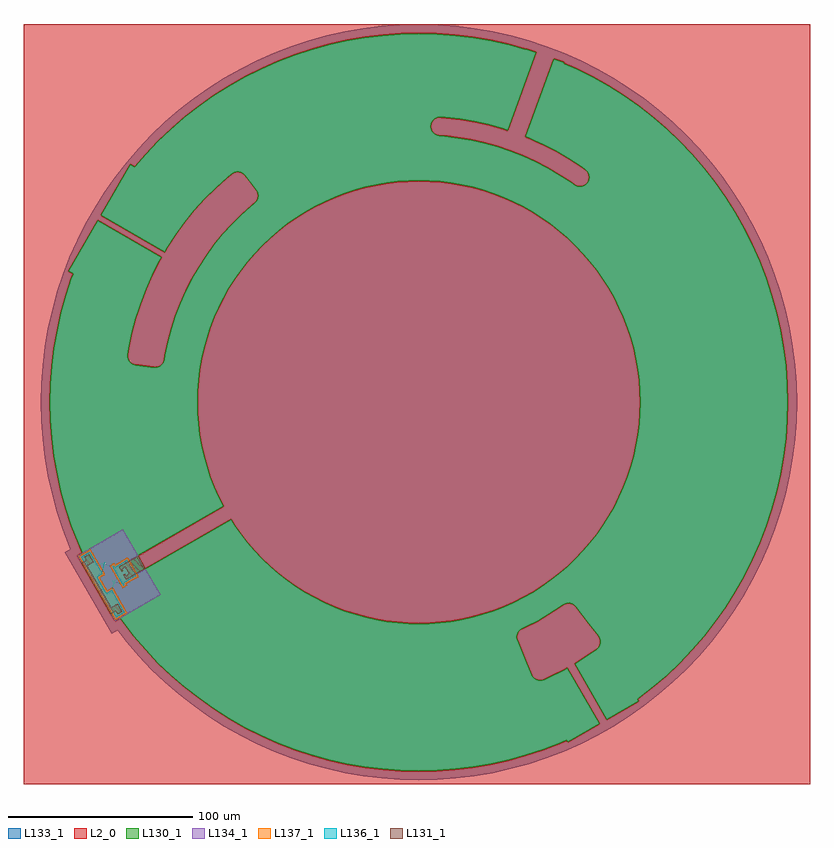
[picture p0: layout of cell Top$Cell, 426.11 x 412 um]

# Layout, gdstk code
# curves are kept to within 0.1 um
from math import pi, radians
import gdstk
lib = gdstk.Library(unit=1e-6, precision=1e-09)
def R(c, l, rs):  # rectangles x0, y0, x1, y1
    for r in rs: c.add(gdstk.rectangle(r[:2], r[2:], *l))
def P(c, l, *ps):  # polygons
    for p in ps: c.add(gdstk.Polygon(p, *l))
L2_0 = (2, 0)
L130_1 = (130, 1)
L131_1 = (131, 1)
L133_1 = (133, 1)
L134_1 = (134, 1)
L136_1 = (136, 1)
L137_1 = (137, 1)

manhattan = lib.new_cell('Manhattan')
P(manhattan, L130_1, [(-20.5,-2),(-20.5,26.5),(-4,26.5),(-4,14.5),(-1,14.5),(-1,15.5),(-2,15.5),(-2,17.5),(2,17.5),(2,15.5),(1,15.5),(1,14.5),(4,14.5),(4,26.5),(20.5,26.5),(20.5,-2),(16,-2),(16,1),(18,1),(18,4),(13,4),(13,0),(-13,0),(-13,4),(-18,4),(-18,1),(-16,1),(-16,-2)])
P(manhattan, L131_1, [(-16,-2),(-16,1),(-18,1),(-18,4),(-13,4),(-13,0),(13,0),(13,4),(18,4),(18,1),(16,1),(16,-2)],
  [(-4,14.5),(-4,26.5),(4,26.5),(4,14.5),(1,14.5),(1,15.5),(2,15.5),(2,17.5),(-2,17.5),(-2,15.5),(-1,15.5),(-1,14.5)])
R(manhattan, L133_1, [(-25.5,-7,25.5,31.5)])
P(manhattan, L136_1, [(-5.859,4.844),(-9.25,8.236),(-9.957,7.529),(-9.971,7.543),(-9.264,8.25),(-9.971,8.957),(-9.957,8.971),(-9.25,8.264),(-5.859,11.656),(-5.844,11.641),(-9.236,8.25),(-5.844,4.859)],
  [(5.141,4.844),(1.75,8.236),(1.043,7.529),(1.029,7.543),(1.736,8.25),(1.029,8.957),(1.043,8.971),(1.75,8.264),(5.141,11.656),(5.156,11.641),(1.764,8.25),(5.156,4.859)],
  [(-18.525,-0.5),(-18.836,-0.371),(-19,-0.025),(-19,4.525),(-18.871,4.836),(-18.573,4.995),(-5.378,4.986),(-5.005,4.573),(-4.986,1.878),(-4.525,1.5),(4.669,1.529),(4.995,1.927),(5.014,4.622),(5.427,4.995),(18.525,5),(18.836,4.871),(18.995,4.573),(19,-0.025),(18.871,-0.336),(18.573,-0.495)],
  [(-6,11.5),(-6,12.5),(-5,12.5),(-5,19.725),(-4.798,20.102),(4.525,20.2),(4.902,19.998),(5,12.5),(6,12.5),(6,11.5)])
P(manhattan, L137_1, [(-19.525,-1.5),(-19.836,-1.371),(-20,-1.025),(-20,5.525),(-19.871,5.836),(-19.573,5.995),(-4.378,5.986),(-4.005,5.573),(-3.986,2.878),(-3.525,2.5),(3.714,2.547),(4,2.975),(4.014,5.622),(4.427,5.995),(19.525,6),(19.836,5.871),(19.995,5.573),(20,-1.025),(19.871,-1.336),(19.573,-1.495)],
  [(-7,10.5),(-7,13.5),(-6,13.5),(-6,20.725),(-5.836,21.071),(-5.525,21.2),(5.525,21.2),(5.871,21.036),(6,20.725),(6,13.5),(7,13.5),(7,10.5)])
manhattan.add(gdstk.Label('base', (0,0), layer=225, texttype=0))
manhattan.add(gdstk.Label('l', (-9.25,8.25), layer=225, texttype=0))
manhattan.add(gdstk.Label('r', (1.75,8.25), layer=225, texttype=0))
manhattan.add(gdstk.Label('origin_squid', (0,0), layer=225, texttype=0))
manhattan.add(gdstk.Label('center_squid', (0,6.5), layer=225, texttype=0))
manhattan.add(gdstk.Label('port_common', (0,26.5), layer=225, texttype=0))
manhattan.add(gdstk.Label('common', (0,26.5), layer=154, texttype=1))

circular_transmon_single = lib.new_cell('Circular$Transmon$Single$Island')
P(circular_transmon_single, L130_1, [(0,-200),(-9.814,-199.759),(-19.603,-199.037),(-29.346,-197.835),(-39.018,-196.157),(-48.596,-194.006),(-58.057,-191.388),(-67.378,-188.309),(-76.537,-184.776),(-85.511,-180.798),(-94.279,-176.384),(-102.821,-171.546),(-111.114,-166.294),(-119.14,-160.642),(-126.879,-154.602),(-134.312,-148.19),(-141.421,-141.421),(-148.19,-134.312),(-154.602,-126.879),(-160.993,-118.641),(-162.08,-119.269),(-172.08,-101.949),(-141.719,-84.42),(-135.98,-93.457),(-133.368,-96.935),(-132.197,-97.784),(-130.831,-98.263),(-129.627,-98.35),(-128.207,-98.069),(-126.927,-97.395),(-110.497,-84.74),(-109.604,-83.547),(-109.103,-82.145),(-109.037,-80.656),(-109.412,-79.215),(-115.107,-70.538),(-118.641,-64.416),(-123.308,-55.146),(-124.369,-54.101),(-125.691,-53.413),(-127.156,-53.147),(-128.636,-53.323),(-147.81,-61.224),(-149.034,-61.996),(-150.112,-63.292),(-150.514,-64.172),(-150.766,-65.351),(-150.728,-66.558),(-150.489,-67.495),(-148.926,-71.034),(-143.97,-80.522),(-174.33,-98.051),(-184.33,-80.731),(-183.205,-80.081),(-184.776,-76.537),(-188.309,-67.378),(-191.388,-58.057),(-194.006,-48.596),(-196.157,-39.018),(-197.835,-29.346),(-199.037,-19.603),(-199.759,-9.814),(-200,0),(-199.759,9.814),(-199.037,19.603),(-197.835,29.346),(-196.157,39.018),(-194.006,48.596),(-191.388,58.057),(-188.309,67.378),(-184.776,76.537),(-180.798,85.511),(-176.384,94.279),(-171.546,102.821),(-166.294,111.114),(-160.642,119.14),(-154.602,126.879),(-148.19,134.312),(-141.421,141.421),(-134.312,148.19),(-128.896,152.862),(-83.636,152.862),(-90.564,148.862),(-63.414,101.837),(-66.668,99.776),(-71.484,96.385),(-76.127,92.761),(-80.587,88.914),(-84.853,84.853),(-88.914,80.587),(-92.761,76.127),(-96.385,71.484),(-99.776,66.668),(-102.927,61.692),(-105.831,56.568),(-108.479,51.307),(-110.866,45.922),(-112.985,40.427),(-114.833,34.834),(-116.404,29.158),(-117.694,23.411),(-118.701,17.608),(-119.422,11.762),(-119.855,5.888),(-120,0),(-119.855,-5.888),(-119.422,-11.762),(-118.701,-17.608),(-117.694,-23.411),(-116.404,-29.158),(-114.833,-34.834),(-112.985,-40.427),(-110.866,-45.922),(-108.479,-51.307),(-105.831,-56.568),(-102.927,-61.692),(-99.776,-66.668),(-96.385,-71.484),(-92.761,-76.127),(-88.914,-80.587),(-84.853,-84.853),(-80.587,-88.914),(-76.127,-92.761),(-71.484,-96.385),(-66.668,-99.776),(-61.692,-102.927),(-56.568,-105.831),(-51.307,-108.479),(-45.922,-110.866),(-40.427,-112.985),(-34.834,-114.833),(-29.158,-116.404),(-23.411,-117.694),(-17.608,-118.701),(-11.762,-119.422),(-5.888,-119.855),(0,-120),(5.888,-119.855),(11.762,-119.422),(17.608,-118.701),(23.411,-117.694),(29.158,-116.404),(34.834,-114.833),(40.427,-112.985),(45.922,-110.866),(51.307,-108.479),(56.568,-105.831),(61.692,-102.927),(66.668,-99.776),(71.484,-96.385),(76.127,-92.761),(80.587,-88.914),(84.853,-84.853),(88.914,-80.587),(92.761,-76.127),(96.385,-71.484),(99.776,-66.668),(102.927,-61.692),(105.831,-56.568),(108.479,-51.307),(110.866,-45.922),(112.985,-40.427),(114.833,-34.834),(116.404,-29.158),(117.694,-23.411),(118.701,-17.608),(119.422,-11.762),(119.855,-5.888),(120,0),(119.855,5.888),(119.422,11.762),(118.701,17.608),(117.694,23.411),(116.404,29.158),(114.833,34.834),(112.985,40.427),(110.866,45.922),(108.479,51.307),(105.831,56.568),(102.927,61.692),(99.776,66.668),(96.385,71.484),(92.761,76.127),(88.914,80.587),(84.853,84.853),(80.587,88.914),(76.127,92.761),(71.484,96.385),(66.668,99.776),(61.692,102.927),(56.568,105.831),(51.307,108.479),(45.922,110.866),(40.427,112.985),(34.834,114.833),(29.158,116.404),(23.411,117.694),(17.608,118.701),(11.762,119.422),(5.888,119.855),(0,120),(-5.888,119.855),(-11.762,119.422),(-17.608,118.701),(-23.411,117.694),(-29.158,116.404),(-34.834,114.833),(-40.427,112.985),(-45.922,110.866),(-51.307,108.479),(-56.502,105.864),(-83.636,152.862),(-128.896,152.862),(-126.879,154.602),(-119.14,160.642),(-111.114,166.294),(-102.821,171.546),(-94.279,176.384),(-85.511,180.798),(-76.537,184.776),(-67.378,188.309),(-58.057,191.388),(-48.596,194.006),(-39.018,196.157),(-29.346,197.835),(-19.603,199.037),(-9.814,199.759),(0,200),(9.814,199.759),(19.603,199.037),(29.346,197.835),(39.018,196.157),(48.596,194.006),(58.057,191.388),(69.553,187.47),(70.988,189.955),(98.701,173.955),(78.673,139.266),(76.346,140.61),(68.882,144.414),(61.229,147.82),(53.409,150.823),(45.443,153.411),(37.352,155.579),(29.158,157.321),(25.352,157.888),(23.914,157.731),(22.58,157.168),(21.464,156.247),(20.559,154.824),(20.231,153.663),(18.893,143.508),(18.916,142.266),(19.245,141.067),(19.859,139.986),(20.72,139.09),(22.006,138.337),(32.683,136.132),(39.763,134.235),(46.733,131.97),(53.575,129.343),(60.272,126.361),(66.802,123.034),(73.15,119.369),(79.296,115.377),(85.227,111.069),(90.923,106.457),(96.369,101.553),(101.552,96.37),(108.424,88.553),(109.42,87.809),(110.33,87.406),(112.298,87.173),(113.277,87.353),(114.418,87.842),(123.322,94.673),(124.31,96.04),(124.788,97.657),(124.701,99.341),(124.183,100.692),(121.665,103.912),(116.059,110.137),(110.136,116.06),(103.912,121.665),(97.402,126.936),(90.625,131.861),(83.599,136.422),(81.271,137.766),(101.299,172.455),(129.012,156.455),(127.589,153.99),(134.312,148.19),(141.421,141.421),(148.19,134.312),(154.602,126.879),(160.642,119.14),(166.294,111.114),(171.546,102.821),(176.384,94.279),(180.798,85.511),(184.776,76.537),(188.309,67.378),(191.388,58.057),(194.006,48.596),(196.157,39.018),(197.835,29.346),(199.037,19.603),(199.759,9.814),(200,0),(199.759,-9.814),(199.037,-19.603),(197.835,-29.346),(196.157,-39.018),(194.006,-48.596),(191.414,-57.963),(191.701,-58.067),(189.648,-63.706),(147.242,-48.271),(148.161,-45.533),(150.286,-37.936),(152.022,-30.239),(153.364,-22.464),(154.308,-14.632),(154.504,-11.272),(154.136,-9.628),(153.241,-8.201),(151.922,-7.151),(150.331,-6.599),(148.613,-6.612),(146.986,-7.216),(145.826,-8.152),(144.893,-9.616),(144.564,-10.814),(143.469,-21.015),(142.214,-28.288),(140.59,-35.488),(138.602,-42.596),(136.255,-49.593),(133.555,-56.462),(130.509,-63.184),(127.125,-69.743),(123.411,-76.122),(117.349,-85.302),(117.006,-86.497),(116.966,-87.739),(117.237,-88.953),(117.797,-90.062),(118.431,-90.828),(119.402,-91.576),(120.507,-92.06),(121.696,-92.265),(122.899,-92.179),(124.047,-91.807),(125.072,-91.172),(125.915,-90.31),(127.612,-87.978),(131.923,-81.372),(135.893,-74.553),(139.51,-67.541),(142.766,-60.356),(143.823,-57.668),(186.228,-73.103),(184.176,-78.741),(183.851,-78.623),(180.798,-85.511),(176.384,-94.279),(171.546,-102.821),(166.294,-111.114),(160.642,-119.14),(154.602,-126.879),(148.19,-134.312),(141.421,-141.421),(134.312,-148.19),(126.879,-154.602),(119.14,-160.642),(111.114,-166.294),(102.821,-171.546),(94.279,-176.384),(85.511,-180.798),(76.537,-184.776),(67.378,-188.309),(58.057,-191.388),(48.596,-194.006),(39.018,-196.157),(29.346,-197.835),(19.603,-199.037),(9.814,-199.759)])
P(circular_transmon_single, L133_1, [(0,-205.002),(-10.059,-204.754),(-20.093,-204.014),(-30.08,-202.782),(-39.994,-201.062),(-49.811,-198.858),(-59.509,-196.174),(-69.063,-193.018),(-78.451,-189.397),(-87.65,-185.319),(-96.637,-180.795),(-105.392,-175.836),(-113.893,-170.453),(-122.119,-164.659),(-130.052,-158.468),(-137.671,-151.896),(-144.958,-144.958),(-151.896,-137.671),(-158.468,-130.052),(-164.659,-122.119),(-170.453,-113.893),(-175.836,-105.392),(-180.795,-96.637),(-185.319,-87.65),(-189.397,-78.451),(-193.018,-69.063),(-196.174,-59.509),(-198.858,-49.811),(-201.062,-39.994),(-202.782,-30.08),(-204.014,-20.093),(-204.754,-10.059),(-205.002,0),(-204.754,10.059),(-204.014,20.093),(-202.782,30.08),(-201.062,39.994),(-198.858,49.811),(-196.174,59.509),(-193.018,69.063),(-189.397,78.451),(-185.319,87.65),(-180.795,96.637),(-175.836,105.392),(-170.453,113.893),(-164.659,122.119),(-158.468,130.052),(-151.896,137.671),(-144.958,144.958),(-137.671,151.896),(-130.052,158.468),(-122.119,164.659),(-113.893,170.453),(-105.392,175.836),(-96.637,180.795),(-87.65,185.319),(-78.451,189.397),(-69.063,193.018),(-59.509,196.174),(-49.811,198.858),(-39.994,201.062),(-30.08,202.782),(-20.093,204.014),(-10.059,204.754),(0,205.002),(10.059,204.754),(20.093,204.014),(30.08,202.782),(39.994,201.062),(49.811,198.858),(59.509,196.174),(69.063,193.018),(78.451,189.397),(87.65,185.319),(96.637,180.795),(105.392,175.836),(113.893,170.453),(122.119,164.659),(130.052,158.468),(137.671,151.896),(144.958,144.958),(151.896,137.671),(158.468,130.052),(164.659,122.119),(170.453,113.893),(175.836,105.392),(180.795,96.637),(185.319,87.65),(189.397,78.451),(193.018,69.063),(196.174,59.509),(198.858,49.811),(201.062,39.994),(202.782,30.08),(204.014,20.093),(204.754,10.059),(205.002,0),(204.754,-10.059),(204.014,-20.093),(202.782,-30.08),(201.062,-39.994),(198.858,-49.811),(196.174,-59.509),(193.018,-69.063),(189.397,-78.451),(185.319,-87.65),(180.795,-96.637),(175.836,-105.392),(170.453,-113.893),(164.659,-122.119),(158.468,-130.052),(151.896,-137.671),(144.958,-144.958),(137.671,-151.896),(130.052,-158.468),(122.119,-164.659),(113.893,-170.453),(105.392,-175.836),(96.637,-180.795),(87.65,-185.319),(78.451,-189.397),(69.063,-193.018),(59.509,-196.174),(49.811,-198.858),(39.994,-201.062),(30.08,-202.782),(20.093,-204.014),(10.059,-204.754)])
P(circular_transmon_single, L134_1, [(-104.504,140.005),(-118.754,164.687),(-114.856,166.937),(-113.356,164.339),(-115.088,163.339),(-113.588,160.741),(-109.258,163.241),(-111.258,166.705),(-88.742,179.705),(-86.742,176.241),(-82.412,178.741),(-83.912,181.339),(-85.644,180.339),(-87.144,182.937),(-83.246,185.187),(-68.996,160.505),(-83.286,152.255),(-89.286,162.648),(-91.884,161.148),(-91.384,160.282),(-90.518,160.782),(-89.518,159.05),(-92.982,157.05),(-93.982,158.782),(-93.116,159.282),(-93.616,160.148),(-96.214,158.648),(-90.214,148.255)])
circular_transmon_single.add(gdstk.Reference(manhattan, (-100,173.205), rotation=radians(210)))
circular_transmon_single.add(gdstk.Label('base', (0,0), layer=225, texttype=0))
circular_transmon_single.add(gdstk.Label('squid_base', (-100,173.205), layer=225, texttype=0))
circular_transmon_single.add(gdstk.Label('squid_l', (-87.864,170.685), layer=225, texttype=0))
circular_transmon_single.add(gdstk.Label('squid_r', (-97.391,165.185), layer=225, texttype=0))
circular_transmon_single.add(gdstk.Label('squid_origin_squid', (-100,173.205), layer=225, texttype=0))
circular_transmon_single.add(gdstk.Label('squid_center_squid', (-96.75,167.576), layer=225, texttype=0))
circular_transmon_single.add(gdstk.Label('squid_port_common', (-86.75,150.255), layer=225, texttype=0))
circular_transmon_single.add(gdstk.Label('port_coupler_1', (187.939,-68.404), layer=225, texttype=0))
circular_transmon_single.add(gdstk.Label('port_coupler_1_corner', (281.908,-102.606), layer=225, texttype=0))
circular_transmon_single.add(gdstk.Label('port_coupler_2', (100,173.205), layer=225, texttype=0))
circular_transmon_single.add(gdstk.Label('port_coupler_2_corner', (150,259.808), layer=225, texttype=0))
circular_transmon_single.add(gdstk.Label('port_coupler_3', (-173.205,-100), layer=225, texttype=0))
circular_transmon_single.add(gdstk.Label('port_coupler_3_corner', (-259.808,-150), layer=225, texttype=0))
circular_transmon_single.add(gdstk.Label('port_drive', (200,-346.41), layer=225, texttype=0))
circular_transmon_single.add(gdstk.Label('port_drive_corner', (250,-433.013), layer=225, texttype=0))
circular_transmon_single.add(gdstk.Label('coupler_1', (187.939,-68.404), layer=154, texttype=1))
circular_transmon_single.add(gdstk.Label('coupler_2', (100,173.205), layer=154, texttype=1))
circular_transmon_single.add(gdstk.Label('coupler_3', (-173.205,-100), layer=154, texttype=1))
circular_transmon_single.add(gdstk.Label('drive', (200,-346.41), layer=154, texttype=1))

top_cell = lib.new_cell('Top$Cell')
P(top_cell, L2_0, [(-73.086,-601.197),(-73.499,-600.969),(-74.762,-598.782),(-73.462,-598.032),(-72.462,-599.764),(-69.864,-598.264),(-72.364,-593.934),(-75.828,-595.934),(-88.828,-573.418),(-85.364,-571.418),(-87.864,-567.088),(-90.462,-568.588),(-89.462,-570.32),(-90.761,-571.07),(-92.043,-568.839),(-92.054,-568.501),(-91.85,-568.234),(-87.865,-565.939),(-87.528,-565.928),(-87.26,-566.133),(-81.005,-576.967),(-79.801,-572.552),(-80.99,-576.993),(-80.699,-577.526),(-80.722,-577.862),(-83.157,-579.387),(-83.345,-579.82),(-78.545,-588.032),(-78.118,-588.019),(-75.909,-586.744),(-75.561,-586.704),(-74.32,-582.074),(-75.281,-581.796),(-74.315,-582.054),(-74.057,-581.089),(-74.296,-582.06),(-69.877,-583.243),(-75.362,-573.742),(-80.781,-572.269),(-79.815,-572.528),(-79.537,-571.567),(-79.796,-572.533),(-75.356,-573.722),(-74.503,-573.23),(-74.003,-574.096),(-67.746,-570.483),(-67.364,-570.452),(-66.834,-571.112),(-71.771,-573.962),(-70.271,-576.56),(-69.405,-576.06),(-69.905,-575.194),(-68.173,-574.194),(-66.173,-577.658),(-67.905,-578.658),(-68.405,-577.792),(-69.271,-578.292),(-67.771,-580.89),(-62.835,-578.04),(-62.552,-578.539),(-62.541,-578.876),(-62.746,-579.144),(-69.003,-582.756),(-68.503,-583.622),(-69.369,-584.122),(-69.861,-583.269),(-74.301,-582.079),(-75.541,-586.709),(-75.26,-586.917),(-68.682,-598.406),(-68.909,-598.868)],
  [(90.877,-604.676),(84.989,-604.531),(79.115,-604.098),(73.269,-603.377),(67.466,-602.37),(61.719,-601.08),(56.043,-599.509),(50.45,-597.661),(44.955,-595.542),(39.57,-593.155),(34.309,-590.507),(29.185,-587.603),(24.209,-584.452),(19.393,-581.061),(14.75,-577.437),(10.29,-573.59),(6.024,-569.529),(1.963,-565.263),(-1.884,-560.803),(-5.508,-556.16),(-8.899,-551.344),(-10.96,-548.09),(-57.378,-574.89),(-61.378,-567.962),(-14.987,-541.178),(-17.602,-535.983),(-19.989,-530.598),(-22.108,-525.103),(-23.956,-519.51),(-25.527,-513.834),(-26.817,-508.087),(-27.824,-502.284),(-28.545,-496.438),(-28.978,-490.564),(-29.123,-484.676),(-28.978,-478.788),(-28.545,-472.914),(-27.824,-467.068),(-26.817,-461.265),(-25.527,-455.518),(-23.956,-449.842),(-22.108,-444.249),(-19.989,-438.754),(-17.602,-433.369),(-14.954,-428.108),(-12.05,-422.984),(-8.899,-418.008),(-5.508,-413.192),(-1.884,-408.549),(1.963,-404.089),(6.024,-399.823),(10.29,-395.762),(14.75,-391.915),(19.393,-388.291),(24.209,-384.9),(29.185,-381.749),(34.309,-378.845),(39.57,-376.197),(44.955,-373.81),(50.45,-371.691),(56.043,-369.843),(61.719,-368.272),(67.466,-366.982),(73.269,-365.975),(79.115,-365.254),(84.989,-364.821),(90.877,-364.676),(96.765,-364.821),(102.639,-365.254),(108.485,-365.975),(114.288,-366.982),(120.035,-368.272),(125.711,-369.843),(131.304,-371.691),(136.799,-373.81),(142.184,-376.197),(147.445,-378.845),(152.569,-381.749),(157.545,-384.9),(162.361,-388.291),(167.004,-391.915),(171.464,-395.762),(175.73,-399.823),(179.791,-404.089),(183.638,-408.549),(187.262,-413.192),(190.653,-418.008),(193.804,-422.984),(196.708,-428.108),(199.356,-433.369),(201.743,-438.754),(203.862,-444.249),(205.71,-449.842),(207.281,-455.518),(208.571,-461.265),(209.578,-467.068),(210.299,-472.914),(210.732,-478.788),(210.877,-484.676),(210.732,-490.564),(210.299,-496.438),(209.578,-502.284),(208.571,-508.087),(207.281,-513.834),(205.71,-519.51),(203.862,-525.103),(201.743,-530.598),(199.356,-535.983),(196.708,-541.244),(193.804,-546.368),(190.653,-551.344),(187.262,-556.16),(183.638,-560.803),(179.791,-565.263),(175.73,-569.529),(171.464,-573.59),(167.004,-577.437),(162.361,-581.061),(157.545,-584.452),(152.569,-587.603),(147.445,-590.507),(142.184,-593.155),(136.799,-595.542),(131.304,-597.661),(125.711,-599.509),(120.035,-601.08),(114.288,-602.37),(108.485,-603.377),(102.639,-604.098),(96.765,-604.531)],
  [(-123.189,-691.673),(-123.189,-284.676),(90.877,-284.676),(81.063,-284.917),(71.274,-285.639),(61.531,-286.841),(51.859,-288.519),(42.281,-290.67),(32.82,-293.288),(23.499,-296.367),(14.34,-299.9),(5.366,-303.878),(-3.402,-308.292),(-11.944,-313.13),(-20.237,-318.382),(-28.263,-324.034),(-36.002,-330.074),(-43.435,-336.486),(-50.544,-343.255),(-57.313,-350.364),(-63.113,-357.087),(-65.578,-355.664),(-81.578,-383.377),(-46.889,-403.405),(-45.545,-401.077),(-40.984,-394.051),(-36.059,-387.274),(-30.788,-380.764),(-25.183,-374.54),(-19.26,-368.617),(-13.035,-363.011),(-10.022,-360.617),(-8.464,-359.975),(-7.021,-359.866),(-5.382,-360.264),(-4.151,-361.025),(-3.475,-361.716),(2.761,-369.841),(3.362,-370.928),(3.677,-372.131),(3.543,-374.107),(3.068,-375.256),(2.493,-376.068),(-5.493,-383.124),(-10.676,-388.307),(-15.58,-393.753),(-20.192,-399.449),(-24.5,-405.38),(-28.492,-411.526),(-32.157,-417.874),(-35.484,-424.404),(-38.466,-431.101),(-41.093,-437.943),(-43.358,-444.913),(-45.255,-451.993),(-47.298,-462.199),(-48.062,-463.758),(-49.312,-464.961),(-50.9,-465.665),(-52.383,-465.804),(-63.493,-464.282),(-64.996,-463.519),(-66.021,-462.497),(-66.788,-460.995),(-67.015,-459.566),(-66.444,-455.518),(-64.702,-447.324),(-62.534,-439.233),(-59.946,-431.267),(-56.943,-423.447),(-53.537,-415.794),(-49.733,-408.33),(-48.389,-406.003),(-83.078,-385.975),(-99.078,-413.688),(-96.593,-415.123),(-100.511,-426.619),(-103.129,-436.08),(-105.28,-445.658),(-106.958,-455.33),(-108.16,-465.073),(-108.882,-474.862),(-109.123,-484.676),(-108.882,-494.49),(-108.16,-504.279),(-106.958,-514.022),(-105.28,-523.694),(-103.129,-533.272),(-100.511,-542.733),(-97.432,-552.054),(-93.899,-561.213),(-91.615,-566.366),(-94.31,-567.922),(-73.81,-603.43),(-71.127,-601.881),(-63.725,-611.555),(-57.313,-618.988),(-50.544,-626.097),(-43.435,-632.866),(-36.002,-639.278),(-28.263,-645.318),(-20.237,-650.97),(-11.944,-656.222),(-3.402,-661.06),(5.366,-665.474),(14.34,-669.452),(23.499,-672.985),(32.82,-676.064),(42.281,-678.682),(51.859,-680.833),(61.531,-682.511),(71.274,-683.713),(81.063,-684.435),(90.877,-684.676),(100.691,-684.435),(110.48,-683.713),(120.223,-682.511),(129.895,-680.833),(139.473,-678.682),(148.934,-676.064),(158.255,-672.985),(167.414,-669.452),(170.958,-667.881),(171.608,-669.006),(188.928,-659.006),(171.399,-628.646),(161.911,-633.602),(158.143,-635.242),(156.712,-635.462),(155.513,-635.325),(154.169,-634.788),(153.035,-633.89),(152.101,-632.486),(144.355,-613.785),(144.022,-612.082),(144.153,-610.845),(144.584,-609.68),(145.29,-608.657),(146.226,-607.839),(155.293,-603.317),(161.415,-599.783),(169.429,-594.432),(170.559,-593.915),(171.533,-593.713),(172.776,-593.737),(173.741,-593.977),(174.851,-594.538),(175.788,-595.355),(188.272,-611.603),(188.946,-612.883),(189.227,-614.303),(189.14,-615.507),(188.661,-616.873),(187.812,-618.044),(184.334,-620.656),(175.297,-626.395),(192.826,-656.756),(210.146,-646.756),(209.518,-645.669),(217.756,-639.278),(225.189,-632.866),(232.298,-626.097),(239.067,-618.988),(245.479,-611.555),(251.519,-603.816),(257.171,-595.79),(262.423,-587.497),(267.261,-578.955),(271.675,-570.187),(275.653,-561.213),(279.186,-552.054),(282.265,-542.733),(284.883,-533.272),(287.034,-523.694),(288.712,-514.022),(289.914,-504.279),(290.636,-494.49),(290.877,-484.676),(290.636,-474.862),(289.914,-465.073),(288.712,-455.33),(287.034,-445.658),(284.883,-436.08),(282.265,-426.619),(279.186,-417.298),(275.653,-408.139),(271.675,-399.165),(267.261,-390.397),(262.423,-381.855),(257.171,-373.562),(251.519,-365.536),(245.479,-357.797),(239.067,-350.364),(232.298,-343.255),(225.189,-336.486),(217.756,-330.074),(210.017,-324.034),(201.991,-318.382),(193.698,-313.13),(185.156,-308.292),(176.388,-303.878),(169.5,-300.825),(169.618,-300.5),(163.98,-298.448),(148.545,-340.853),(151.233,-341.91),(158.418,-345.166),(165.43,-348.783),(172.249,-352.753),(178.855,-357.064),(181.555,-359.073),(182.578,-360.413),(183.056,-361.777),(183.124,-363.222),(182.775,-364.625),(181.876,-366.063),(180.729,-367.013),(179.353,-367.584),(177.87,-367.723),(176.646,-367.5),(175.517,-366.983),(166.999,-361.265),(160.62,-357.551),(154.061,-354.167),(147.339,-351.121),(140.47,-348.421),(133.473,-346.074),(126.365,-344.086),(119.165,-342.462),(111.892,-341.207),(101.202,-340.016),(100.042,-339.569),(99.029,-338.85),(98.225,-337.903),(97.765,-337.019),(97.452,-335.816),(97.442,-334.585),(97.725,-333.412),(98.281,-332.341),(99.078,-331.435),(100.067,-330.746),(101.194,-330.314),(102.391,-330.165),(105.509,-330.368),(113.341,-331.312),(121.116,-332.654),(128.813,-334.39),(136.41,-336.515),(139.148,-337.434),(154.583,-295.028),(148.944,-292.975),(148.84,-293.262),(139.473,-290.67),(129.895,-288.519),(120.223,-286.841),(110.48,-285.639),(100.691,-284.917),(90.877,-284.676),(-123.189,-284.676),(-123.189,-279.699),(302.923,-279.699),(302.923,-691.673)])
top_cell.add(gdstk.Reference(circular_transmon_single, (90.877,-484.676), rotation=pi/2))

lib.write_gds('Top_Cell.gds')
